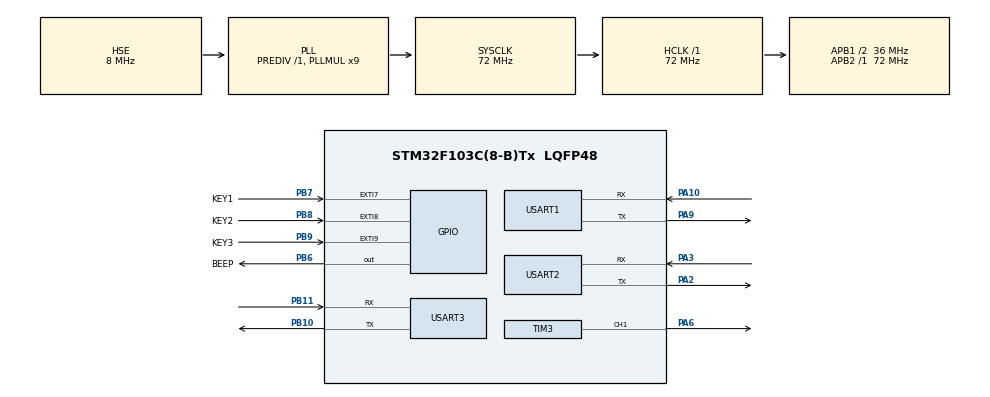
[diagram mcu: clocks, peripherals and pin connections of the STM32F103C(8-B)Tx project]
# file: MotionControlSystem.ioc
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FREERTOS.Tasks01=defaultTask,24,128,StartDefaultTask,Default,NULL,Dynamic,NULL,NULL;modeSelection,24,512,ModeSelection,Default,NULL,Dynamic,NULL,NULL
FREERTOS.configTOTAL_HEAP_SIZE=8888
Mcu.Family=STM32F1
Mcu.Name=STM32F103C(8-B)Tx
Mcu.Package=LQFP48
NVIC.EXTI9_5_IRQn=true\:5\:0\:false\:false\:true\:true\:true\:true
NVIC.PriorityGroup=NVIC_PRIORITYGROUP_4
NVIC.TIM4_IRQn=true\:15\:0\:false\:false\:true\:false\:false\:true
NVIC.TimeBase=TIM4_IRQn
NVIC.TimeBaseIP=TIM4
NVIC.USART1_IRQn=true\:5\:0\:false\:false\:true\:true\:true\:true
NVIC.USART2_IRQn=true\:5\:0\:false\:false\:true\:true\:true\:true
NVIC.USART3_IRQn=true\:5\:0\:false\:false\:true\:true\:true\:true
PA10.Mode=Asynchronous
PA10.Signal=USART1_RX
PA13.Mode=Serial_Wire
PA13.Signal=SYS_JTMS-SWDIO
PA14.Mode=Serial_Wire
PA14.Signal=SYS_JTCK-SWCLK
PA2.Mode=Asynchronous
PA2.Signal=USART2_TX
PA3.Mode=Asynchronous
PA3.Signal=USART2_RX
PA6.Signal=S_TIM3_CH1
PA9.Mode=Asynchronous
PA9.Signal=USART1_TX
PB10.Mode=Asynchronous
PB10.Signal=USART3_TX
PB11.Mode=Asynchronous
PB11.Signal=USART3_RX
PB6.GPIO_Label=BEEP
PB6.GPIO_PuPd=GPIO_PULLDOWN
PB6.Signal=GPIO_Output
PB7.GPIO_Label=KEY1
PB7.GPIO_ModeDefaultEXTI=GPIO_MODE_IT_RISING_FALLING
PB7.GPIO_PuPd=GPIO_PULLUP
PB7.Signal=GPXTI7
PB8.GPIO_Label=KEY2
PB8.GPIO_ModeDefaultEXTI=GPIO_MODE_IT_RISING_FALLING
PB8.GPIO_PuPd=GPIO_PULLUP
PB8.Signal=GPXTI8
PB9.GPIO_Label=KEY3
PB9.GPIO_ModeDefaultEXTI=GPIO_MODE_IT_RISING_FALLING
PB9.GPIO_PuPd=GPIO_PULLUP
PB9.Signal=GPXTI9
PD0-OSC_IN.Mode=HSE-External-Oscillator
PD0-OSC_IN.Signal=RCC_OSC_IN
PD1-OSC_OUT.Mode=HSE-External-Oscillator
PD1-OSC_OUT.Signal=RCC_OSC_OUT
ProjectManager.HeapSize=0x200
ProjectManager.StackSize=0x400
ProjectManager.TargetToolchain=STM32CubeIDE
RCC.AHBFreq_Value=72000000
RCC.APB1CLKDivider=RCC_HCLK_DIV2
RCC.APB1Freq_Value=36000000
RCC.APB1TimFreq_Value=72000000
RCC.APB2Freq_Value=72000000
RCC.APB2TimFreq_Value=72000000
RCC.HCLKFreq_Value=72000000
RCC.PLLMUL=RCC_PLL_MUL9
RCC.PLLSourceVirtual=RCC_PLLSOURCE_HSE
RCC.SYSCLKFreq_VALUE=72000000
RCC.SYSCLKSource=RCC_SYSCLKSOURCE_PLLCLK
RCC.USBFreq_Value=72000000
SH.S_TIM3_CH1.0=TIM3_CH1,PWM Generation1 CH1
TIM3.Channel-PWM\ Generation1\ CH1=TIM_CHANNEL_1
TIM3.Period=20000 - 1
TIM3.Prescaler=72 - 1
USART1.VirtualMode=VM_ASYNC
USART2.VirtualMode=VM_ASYNC
USART3.VirtualMode=VM_ASYNC
VP_FREERTOS_VS_CMSIS_V2.Mode=CMSIS_V2
VP_SYS_VS_tim4.Mode=TIM4
board=custom

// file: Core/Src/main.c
/* USER CODE BEGIN Header */
/**
  ******************************************************************************
  * @file           : main.c
  * @brief          : Main program body
  ******************************************************************************
  * @attention
  *
  * Copyright (c) 2023 STMicroelectronics.
  * All rights reserved.
  *
  * This software is licensed under terms that can be found in the LICENSE file
  * in the root directory of this software component.
  * If no LICENSE file comes with this software, it is provided AS-IS.
  *
  ******************************************************************************
  */
/* USER CODE END Header */
#include "main.h"
#include "cmsis_os.h"
#include "tim.h"
#include "usart.h"
#include "gpio.h"

/* USER CODE BEGIN Includes */

#include "servo.h"
#include "string.h"
#include "key.h"

/* USER CODE END Includes */

void SystemClock_Config(void);
void MX_FREERTOS_Init(void);

/* USER CODE BEGIN 0 */

void HAL_GPIO_EXTI_Callback(uint16_t pin)
{
    switch (pin) {
        case KEY1_Pin:

            break;
        case KEY2_Pin:

            break;
        case KEY3_Pin:

            break;
    }
}

/* USER CODE END 0 */

int main(void)
{

  /* MCU Configuration--------------------------------------------------------*/

  /* Reset of all peripherals, Initializes the Flash interface and the Systick. */
  HAL_Init();

  /* Configure the system clock */
  SystemClock_Config();

  /* Initialize all configured peripherals */
  MX_GPIO_Init();
  MX_USART1_UART_Init();
  MX_USART2_UART_Init();
  MX_USART3_UART_Init();
  MX_TIM3_Init();
  /* USER CODE BEGIN 2 */

    HAL_GPIO_WritePin(BEEP_GPIO_Port, BEEP_Pin, GPIO_PIN_SET);
    HAL_Delay(100);
    HAL_GPIO_WritePin(BEEP_GPIO_Port, BEEP_Pin, GPIO_PIN_RESET);

  /* USER CODE END 2 */

  /* Init scheduler */
  osKernelInitialize();  /* Call init function for freertos objects (in freertos.c) */
  MX_FREERTOS_Init();
  /* Start scheduler */
  osKernelStart();

  /* We should never get here as control is now taken by the scheduler */
  /* Infinite loop */
  while (1)
  {

  }
}

void SystemClock_Config(void)
{
  RCC_OscInitTypeDef RCC_OscInitStruct = {0};
  RCC_ClkInitTypeDef RCC_ClkInitStruct = {0};

  /** Initializes the RCC Oscillators according to the specified parameters
  * in the RCC_OscInitTypeDef structure.
  */
  RCC_OscInitStruct.OscillatorType = RCC_OSCILLATORTYPE_HSE;
  RCC_OscInitStruct.HSEState = RCC_HSE_ON;
  RCC_OscInitStruct.HSEPredivValue = RCC_HSE_PREDIV_DIV1;
  RCC_OscInitStruct.HSIState = RCC_HSI_ON;
  RCC_OscInitStruct.PLL.PLLState = RCC_PLL_ON;
  RCC_OscInitStruct.PLL.PLLSource = RCC_PLLSOURCE_HSE;
  RCC_OscInitStruct.PLL.PLLMUL = RCC_PLL_MUL9;
  if (HAL_RCC_OscConfig(&RCC_OscInitStruct) != HAL_OK)
  {
    Error_Handler();
  }
  /** Initializes the CPU, AHB and APB buses clocks
  */
  RCC_ClkInitStruct.ClockType = RCC_CLOCKTYPE_HCLK|RCC_CLOCKTYPE_SYSCLK
                              |RCC_CLOCKTYPE_PCLK1|RCC_CLOCKTYPE_PCLK2;
  RCC_ClkInitStruct.SYSCLKSource = RCC_SYSCLKSOURCE_PLLCLK;
  RCC_ClkInitStruct.AHBCLKDivider = RCC_SYSCLK_DIV1;
  RCC_ClkInitStruct.APB1CLKDivider = RCC_HCLK_DIV2;
  RCC_ClkInitStruct.APB2CLKDivider = RCC_HCLK_DIV1;

  if (HAL_RCC_ClockConfig(&RCC_ClkInitStruct, FLASH_LATENCY_2) != HAL_OK)
  {
    Error_Handler();
  }
}

void HAL_TIM_PeriodElapsedCallback(TIM_HandleTypeDef *htim)
{
  if (htim->Instance == TIM4) {
    HAL_IncTick();
  }
}

void Error_Handler(void)
{
  __disable_irq();
  while (1)
  {
  }
}

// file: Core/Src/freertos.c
/* USER CODE BEGIN Header */
/**
  ******************************************************************************
  * File Name          : freertos.c
  * Description        : Code for freertos applications
  ******************************************************************************
  * @attention
  *
  * Copyright (c) 2023 STMicroelectronics.
  * All rights reserved.
  *
  * This software is licensed under terms that can be found in the LICENSE file
  * in the root directory of this software component.
  * If no LICENSE file comes with this software, it is provided AS-IS.
  *
  ******************************************************************************
  */
/* USER CODE END Header */

#include "FreeRTOS.h"
#include "task.h"
#include "main.h"
#include "cmsis_os.h"

/* USER CODE BEGIN Includes */

#include "key.h"
#include "servo.h"
#include "usart.h"
#include "screen.h"
#include "string.h"
#include "stdio.h"

/* USER CODE END Includes */

/* USER CODE BEGIN PD */

enum MODE_STATE{
    MODE_STATE_NONE,
    MODE_STATE_CALI,
    MODE_STATE_RESET,
    MODE_STATE_BORDER,
    MODE_STATE_TRACK,
};

int mode_state = MODE_STATE_NONE;

/* USER CODE END PD */

/* Definitions for defaultTask */
osThreadId_t defaultTaskHandle;
const osThreadAttr_t defaultTask_attributes = {
  .name = "defaultTask",
  .stack_size = 128 * 4,
  .priority = (osPriority_t) osPriorityNormal,
};
/* Definitions for modeSelection */
osThreadId_t modeSelectionHandle;
const osThreadAttr_t modeSelection_attributes = {
  .name = "modeSelection",
  .stack_size = 512 * 4,
  .priority = (osPriority_t) osPriorityNormal,
};

/* USER CODE BEGIN FunctionPrototypes */

volatile int mvUpdateTick = 0;
struct Point mvRecvPoint;
struct Point mvRectA;
struct Point mvRectB;
struct Point mvRectC;
struct Point mvRectD;

void Debug(char* msg)
{
    HAL_UART_Transmit(&huart1, msg, strlen(msg), 100);
}

void HandleOpenMVPackage(int cmd, uint8_t* data, int dataLen)
{
    switch (cmd) {
        case 1:
            mvUpdateTick += 1;
            mvRecvPoint.x = (int16_t)(((uint16_t)data[0] << 8) | (uint16_t)data[1]);
            mvRecvPoint.y = (int16_t)(((uint16_t)data[2] << 8) | (uint16_t)data[3]);
            break;
        case 2:
            mvUpdateTick += 1;
            mvRectA.x = (int16_t)(((uint16_t)data[0] << 8) | (uint16_t)data[1]);
            mvRectA.y = (int16_t)(((uint16_t)data[2] << 8) | (uint16_t)data[3]);
            mvRectB.x = (int16_t)(((uint16_t)data[4] << 8) | (uint16_t)data[5]);
            mvRectB.y = (int16_t)(((uint16_t)data[6] << 8) | (uint16_t)data[7]);
            mvRectC.x = (int16_t)(((uint16_t)data[8] << 8) | (uint16_t)data[9]);
            mvRectC.y = (int16_t)(((uint16_t)data[10] << 8) | (uint16_t)data[11]);
            mvRectD.x = (int16_t)(((uint16_t)data[12] << 8) | (uint16_t)data[13]);
            mvRectD.y = (int16_t)(((uint16_t)data[14] << 8) | (uint16_t)data[15]);
            break;
    }
}

//检查通用串口传输数据包
void CheckUartTransmitPackage(uint8_t* data, int* offset)
{
    if (*offset < 4) return ;
    if (data[0] != 0x12 || data[1] != 0x34) { //不是帧头，则左移一字节
    for (int i = 0; i < *offset - 1; ++i) {
        data[i] = data[i + 1];
    }
    *offset -= 1;
    return ;
    }
    //是帧头
    int dataLen = data[2];
    int cmd = data[3];
    uint8_t* messageData = data + 4;
    if (*offset >= dataLen + 4) {
        HandleOpenMVPackage(cmd, messageData, dataLen);
    *offset = 0;
    }
}

void HAL_UART_RxCpltCallback(UART_HandleTypeDef* huart)
{
    static uint8_t uart2RecvBuff[1] = {};
    static uint8_t uart2Buff[128] = {};
    static int uart2Offset = 0;

    if (huart->Instance == USART2) { //openmv接口

        uart2Buff[uart2Offset++] = uart2RecvBuff[0];
        CheckUartTransmitPackage(uart2Buff, &uart2Offset);
        HAL_UART_Receive_IT(huart, uart2RecvBuff, 1);
    }
}

void EchoModeSelectOk()
{
    HAL_GPIO_WritePin(BEEP_GPIO_Port, BEEP_Pin, GPIO_PIN_SET);
    osDelay(100);
    HAL_GPIO_WritePin(BEEP_GPIO_Port, BEEP_Pin, GPIO_PIN_RESET);
}

/* USER CODE END FunctionPrototypes */

void StartDefaultTask(void *argument);
void ModeSelection(void *argument);

void MX_FREERTOS_Init(void); /* (MISRA C 2004 rule 8.1) */

void MX_FREERTOS_Init(void) {

  /* Create the thread(s) */
  /* creation of defaultTask */
  defaultTaskHandle = osThreadNew(StartDefaultTask, NULL, &defaultTask_attributes);

  /* creation of modeSelection */
  modeSelectionHandle = osThreadNew(ModeSelection, NULL, &modeSelection_attributes);

}

void StartDefaultTask(void *argument)
{
  /* USER CODE BEGIN StartDefaultTask */
  char msg[32];
  /* Infinite loop */
  for(;;)
  {
//      snprintf(msg, 32, "%d %d\r\n", mvRecvPoint.x, mvRecvPoint.y);
//      Debug(msg);
    osDelay(100);
  }
  /* USER CODE END StartDefaultTask */
}

/* USER CODE BEGIN Header_ModeSelection */

enum OPENMV_CMD
{
    OPENMV_CMD_STOP = 0x00,
    OPENMV_CMD_DETECT_RED_LASER = 0x01,
    OPENMV_CMD_DETECT_RECT = 0x02,
    OPENMV_CMD_DETECT_TWO_LASER = 0x03,
};

void OpenMVSendCMD(uint8_t cmd)
{
    HAL_UART_Transmit(&huart2, &cmd, 1, 100);
}

void DrawLine(struct Point2d start, struct Point2d end)
{
    int delay = 1;
    double step = 0.006;
    double len = sqrt(pow(start.x - end.x, 2) + pow(start.y - end.y, 2));
    if (len < 1e-6) return ;
    for (double drawLen = 0; drawLen <= len; drawLen += step) {
        double x = start.x + (end.x - start.x) / len * drawLen;
        double y = start.y + (end.y - start.y) / len * drawLen;
        struct BallCoord ballCoord = CalcScreenServoCoord(x + screen_origin_pos.x, y + screen_origin_pos.y);
        struct ServoPos servoPos = CalcServoPos(ballCoord);
        servoXPos = servoPos.x; servoYPos = servoPos.y;
        UpdateScreen();
        osDelay(delay);
    }
    cursor_pos = end;
}

void DrawTo(struct Point2d to)
{
    DrawLine(cursor_pos, to);
}

void ModeBorder()
{
    double left = -0.2633, right = 0.262, top = 0.25, bottom = -0.25;
    struct Point2d aPt = {left, top};
    struct Point2d bPt = {right, top};
    struct Point2d cPt = {right, bottom};
    struct Point2d dPt = {left, bottom};

    DrawTo(aPt);
    DrawTo(bPt);
    DrawTo(cPt);
    DrawTo(dPt);
    DrawTo(aPt);
}

void ModeReset()
{
    struct Point2d origin = {0.0001, 0.0001};
    DrawTo(origin);
    UpdateScreen();
}

void ModeCali()
{
    OpenMVSendCMD(OPENMV_CMD_DETECT_RED_LASER);
    HAL_GPIO_WritePin(BEEP_GPIO_Port, BEEP_Pin, GPIO_PIN_SET);
    osDelay(100);
    HAL_GPIO_WritePin(BEEP_GPIO_Port, BEEP_Pin, GPIO_PIN_RESET);
    osDelay(100);
    HAL_GPIO_WritePin(BEEP_GPIO_Port, BEEP_Pin, GPIO_PIN_SET);
    osDelay(100);
    HAL_GPIO_WritePin(BEEP_GPIO_Port, BEEP_Pin, GPIO_PIN_RESET);
    osDelay(100);
    HAL_GPIO_WritePin(BEEP_GPIO_Port, BEEP_Pin, GPIO_PIN_SET);
    osDelay(100);
    HAL_GPIO_WritePin(BEEP_GPIO_Port, BEEP_Pin, GPIO_PIN_RESET);

    volatile int tick = 0;
    //移动到原点
    DrawTo(mv_o_pos);
    osDelay(500);
    tick = mvUpdateTick;
    osDelay(500);
    while (tick == mvUpdateTick) {}
    HAL_GPIO_WritePin(BEEP_GPIO_Port, BEEP_Pin, GPIO_PIN_SET);
    osDelay(100);
    HAL_GPIO_WritePin(BEEP_GPIO_Port, BEEP_Pin, GPIO_PIN_RESET);
    mv_o_pos_cali.x = mvRecvPoint.x;
    mv_o_pos_cali.y = mvRecvPoint.y;

    //移动到a点
    DrawTo(mv_a_pos);
    osDelay(500);
    tick = mvUpdateTick;
    osDelay(500);
    while (tick == mvUpdateTick) {}
    HAL_GPIO_WritePin(BEEP_GPIO_Port, BEEP_Pin, GPIO_PIN_SET);
    osDelay(100);
    HAL_GPIO_WritePin(BEEP_GPIO_Port, BEEP_Pin, GPIO_PIN_RESET);
    mv_a_pos_cali.x = mvRecvPoint.x;
    mv_a_pos_cali.y = mvRecvPoint.y;

    //移动到b点
    DrawTo(mv_b_pos);
    osDelay(500);
    tick = mvUpdateTick;
    osDelay(500);
    while (tick == mvUpdateTick) {}
    HAL_GPIO_WritePin(BEEP_GPIO_Port, BEEP_Pin, GPIO_PIN_SET);
    osDelay(100);
    HAL_GPIO_WritePin(BEEP_GPIO_Port, BEEP_Pin, GPIO_PIN_RESET);
    mv_b_pos_cali.x = mvRecvPoint.x;
    mv_b_pos_cali.y = mvRecvPoint.y;

    //移动到c点
    DrawTo(mv_c_pos);
    osDelay(500);
    tick = mvUpdateTick;
    osDelay(500);
    while (tick == mvUpdateTick) {}
    HAL_GPIO_WritePin(BEEP_GPIO_Port, BEEP_Pin, GPIO_PIN_SET);
    osDelay(100);
    HAL_GPIO_WritePin(BEEP_GPIO_Port, BEEP_Pin, GPIO_PIN_RESET);
    mv_c_pos_cali.x = mvRecvPoint.x;
    mv_c_pos_cali.y = mvRecvPoint.y;

    //移动到d点
    DrawTo(mv_d_pos);
    osDelay(500);
    tick = mvUpdateTick;
    osDelay(500);
    while (tick == mvUpdateTick) {}
    HAL_GPIO_WritePin(BEEP_GPIO_Port, BEEP_Pin, GPIO_PIN_SET);
    osDelay(100);
    HAL_GPIO_WritePin(BEEP_GPIO_Port, BEEP_Pin, GPIO_PIN_RESET);
    mv_d_pos_cali.x = mvRecvPoint.x;
    mv_d_pos_cali.y = mvRecvPoint.y;

    char msg[64] = {0};
    snprintf(msg, 64, "o %d %d\r\n", mv_o_pos_cali.x, mv_o_pos_cali.y);
    Debug(msg);
    snprintf(msg, 64, "a %d %d\r\n", mv_a_pos_cali.x, mv_a_pos_cali.y);
    Debug(msg);
    snprintf(msg, 64, "b %d %d\r\n", mv_b_pos_cali.x, mv_b_pos_cali.y);
    Debug(msg);
    snprintf(msg, 64, "c %d %d\r\n", mv_c_pos_cali.x, mv_c_pos_cali.y);
    Debug(msg);
    snprintf(msg, 64, "d %d %d\r\n", mv_d_pos_cali.x, mv_d_pos_cali.y);
    Debug(msg);

    //复位
    ModeReset();
    OpenMVSendCMD(OPENMV_CMD_STOP);
    HAL_GPIO_WritePin(BEEP_GPIO_Port, BEEP_Pin, GPIO_PIN_SET);
    osDelay(100);
    HAL_GPIO_WritePin(BEEP_GPIO_Port, BEEP_Pin, GPIO_PIN_RESET);
    osDelay(100);
    HAL_GPIO_WritePin(BEEP_GPIO_Port, BEEP_Pin, GPIO_PIN_SET);
    osDelay(100);
    HAL_GPIO_WritePin(BEEP_GPIO_Port, BEEP_Pin, GPIO_PIN_RESET);
    osDelay(100);
    HAL_GPIO_WritePin(BEEP_GPIO_Port, BEEP_Pin, GPIO_PIN_SET);
    osDelay(100);
    HAL_GPIO_WritePin(BEEP_GPIO_Port, BEEP_Pin, GPIO_PIN_RESET);

}

void ModeTrack()
{
    OpenMVSendCMD(OPENMV_CMD_DETECT_RECT);
    HAL_GPIO_WritePin(BEEP_GPIO_Port, BEEP_Pin, GPIO_PIN_SET);
    osDelay(50);
    HAL_GPIO_WritePin(BEEP_GPIO_Port, BEEP_Pin, GPIO_PIN_RESET);
    osDelay(50);
    HAL_GPIO_WritePin(BEEP_GPIO_Port, BEEP_Pin, GPIO_PIN_SET);
    osDelay(50);
    HAL_GPIO_WritePin(BEEP_GPIO_Port, BEEP_Pin, GPIO_PIN_RESET);
    osDelay(50);
    HAL_GPIO_WritePin(BEEP_GPIO_Port, BEEP_Pin, GPIO_PIN_SET);
    osDelay(50);
    HAL_GPIO_WritePin(BEEP_GPIO_Port, BEEP_Pin, GPIO_PIN_RESET);

    osDelay(1000);

    volatile int tick = mvUpdateTick;
    osDelay(500);

    while (tick == mvUpdateTick) {}
    HAL_GPIO_WritePin(BEEP_GPIO_Port, BEEP_Pin, GPIO_PIN_SET);
    osDelay(500);
    HAL_GPIO_WritePin(BEEP_GPIO_Port, BEEP_Pin, GPIO_PIN_RESET);

    struct Point2d aPt = CalcScreenPosFromOpenMVPos(mvRectA);
    struct Point2d bPt = CalcScreenPosFromOpenMVPos(mvRectB);
    struct Point2d cPt = CalcScreenPosFromOpenMVPos(mvRectC);
    struct Point2d dPt = CalcScreenPosFromOpenMVPos(mvRectD);
    DrawTo(aPt);
    DrawTo(bPt);
    DrawTo(cPt);
    DrawTo(dPt);
    DrawTo(aPt);

}

/**
* @brief Function implementing the modeSelection thread.
* @param argument: Not used
* @retval None
*/
/* USER CODE END Header_ModeSelection */
void ModeSelection(void *argument)
{
  /* USER CODE BEGIN ModeSelection */

    osDelay(1000);
    uint8_t fffff;
    HAL_UART_Receive_IT(&huart2, &fffff, 1);

    //校准
    screen_servo_origin_pos.y = 2283;
    screen_origin_pos = CalcScreenPosFromServoPos(screen_servo_origin_pos);
    ModeReset();
    osDelay(1000);

    ModeCali();

    ModeTrack();

  /* Infinite loop */
  for(;;)
  {
      ReadKeyBit();
      UpdateScreen();
//      ModeBorder();
      switch (mode_state) {
          case MODE_STATE_NONE:
              if (IsModeChange()) {
                  EchoModeSelectOk();
                  if (bit0 == 0 && bit1 == 0) {
                      mode_state = MODE_STATE_CALI;
                  } else if (bit0 == 1 && bit1 == 0) {
                      mode_state = MODE_STATE_RESET;
                  } else if (bit0 == 0 && bit1 == 1) {
                      mode_state = MODE_STATE_BORDER;
                  } else if (bit0 == 1 && bit1 == 1) {
                      mode_state = MODE_STATE_TRACK;
                  }
              }
              break;
          case MODE_STATE_CALI:
              ModeCali();
              mode_state = MODE_STATE_NONE;
              break;
          case MODE_STATE_RESET:
              ModeReset();
              mode_state = MODE_STATE_NONE;
              break;
          case MODE_STATE_BORDER:
              ModeBorder();
              mode_state = MODE_STATE_NONE;
              break;
          case MODE_STATE_TRACK:
              ModeTrack();
              mode_state = MODE_STATE_NONE;
              break;
      }
    osDelay(1);
  }
  /* USER CODE END ModeSelection */
}
